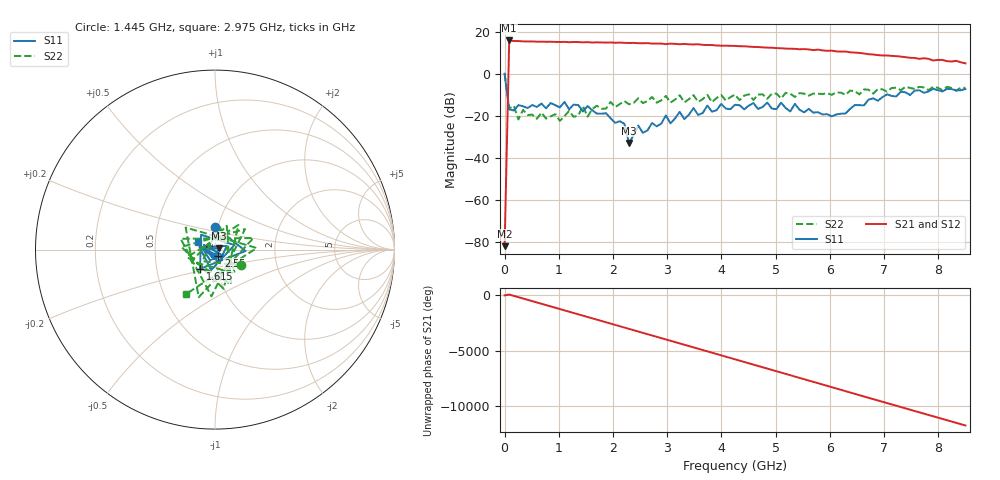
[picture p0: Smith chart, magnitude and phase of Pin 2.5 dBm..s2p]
! RsaToolbox (C) 2013 Rohde & Schwarz America
! Number of points: 101
! Number of ports: 2
! Balanced ports?: 0
# Hz S RI R 50
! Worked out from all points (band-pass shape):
!   101 points, 9 kHz to 8.5 GHz, reference 50 ohm
!   highest |S21| = 15.78 dB at 85.01 MHz (marker M1); lowest = -81.9 dB at 9 kHz (marker M2)
!   |S21| within 3 dB of the highest: 82.4 MHz to 4.549 GHz (4.467 GHz wide, 193 % of centre)
!   lowest |S11| = -32.9 dB at 2.295 GHz (marker M3), VSWR 1.05, Z = 52.2 + j0.653 ohm
!   |S11| at or under -10 dB: 50.05 MHz to 7.042 GHz (6.992 GHz wide, 197 % of centre); 7.076 GHz to 7.254 GHz (178.2 MHz wide, 2.49 % of centre); 7.471711 GHz to 7.484994 GHz (13.28 MHz wide, 0.178 % of centre)
!   |S22| runs from -22.4 to 0.1 dB; largest |S21 - S12| = 0
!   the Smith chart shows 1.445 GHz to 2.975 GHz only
!   S11 on the Smith chart (normalised r, x): 1.445 GHz: 0.97, +0.25; 1.615 GHz: 0.83, -0.18; 2.55 GHz: 1.04, -0.07; 2.975 GHz: 0.83, +0.07
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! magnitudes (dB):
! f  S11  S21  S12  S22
! 9 kHz  0.0  -81.9  -81.9  0.1
! 85.01 MHz  -17.0  15.8  15.8  -16.6
! 170 MHz  -17.5  15.5  15.5  -15.2
! 255 MHz  -14.9  15.5  15.5  -21.7
! 340 MHz  -15.5  15.4  15.4  -17.2
! 1.02 GHz  -16.0  15.1  15.1  -22.4
! 1.445 GHz  -18.0  14.9  14.9  -15.3
! 1.53 GHz  -15.4  15.0  15.0  -20.4
! 1.615 GHz  -17.3  14.8  14.8  -16.8
! 2.21 GHz  -23.8  14.6  14.6  -13.0
! 2.295 GHz  -32.9  14.6  14.6  -14.5
! 2.465 GHz  -24.6  14.5  14.5  -11.7
! 2.55 GHz  -28.1  14.5  14.5  -13.9
! 2.89 GHz  -23.7  14.3  14.3  -12.7
! 2.975 GHz  -19.8  14.0  14.0  -10.6
! 3.06 GHz  -23.6  14.3  14.3  -13.7
! 3.23 GHz  -18.1  14.0  14.0  -10.2
! 3.315 GHz  -21.6  14.1  14.1  -13.6
! 4.25 GHz  -14.7  13.2  13.2  -9.9
! 5.695 GHz  -18.5  11.2  11.2  -9.5
! 7.14 GHz  -10.6  8.5  8.5  -6.8
! 8.5 GHz  -7.3  4.9  4.9  -6.7
